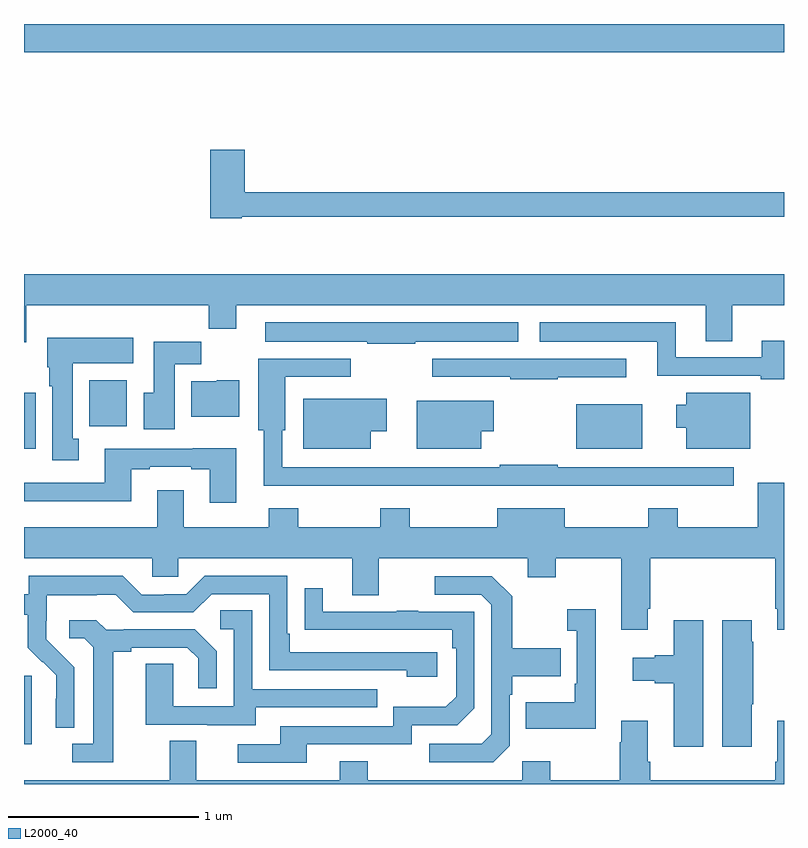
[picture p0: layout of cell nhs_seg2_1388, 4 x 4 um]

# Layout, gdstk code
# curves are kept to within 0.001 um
import gdstk
lib = gdstk.Library(unit=1e-6, precision=1e-09)
def R(c, l, rs):  # rectangles x0, y0, x1, y1
    for r in rs: c.add(gdstk.rectangle(r[:2], r[2:], *l))
def P(c, l, *ps):  # polygons
    for p in ps: c.add(gdstk.Polygon(p, *l))
L2000_40 = (2000, 40)

nhs_seg2_1388 = lib.new_cell('nhs_seg2_1388')
R(nhs_seg2_1388, L2000_40, [(183,628.01,183.04,628.371), (183,629.564,183.061,629.86), (185.906,629.564,186.253,629.8), (183.344,629.684,183.541,629.926), (183,631.652,187,631.8)])
P(nhs_seg2_1388, L2000_40, [(184.146,630.786),(187,630.786),(187,630.914),(184.163,630.914),(184.163,631.138),(183.98,631.138),(183.98,630.778),(184.146,630.778)],
  [(183.013,630.32),(183.973,630.32),(183.973,630.196),(184.117,630.196),(184.117,630.32),(186.587,630.32),(186.587,630.13),(186.727,630.13),(186.727,630.32),(187,630.32),(187,630.484),(183,630.484),(183,630.126),(183.013,630.126)],
  [(185.06,630.128),(185.602,630.128),(185.602,630.229),(184.269,630.229),(184.269,630.128),(184.807,630.128),(184.807,630.118),(185.06,630.118)],
  [(187,630.133),(186.884,630.133),(186.884,630.045),(186.43,630.045),(186.43,630.229),(185.715,630.229),(185.715,630.128),(186.332,630.128),(186.332,629.949),(186.878,629.949),(186.878,629.929),(187,629.929)],
  [(183.289,629.618),(183.256,629.618),(183.256,630.014),(183.574,630.014),(183.574,630.148),(183.122,630.148),(183.122,629.994),(183.134,629.994),(183.134,629.894),(183.149,629.894),(183.149,629.505),(183.289,629.505)],
  [(183.793,630.008),(183.932,630.008),(183.932,630.127),(183.683,630.127),(183.683,629.86),(183.629,629.86),(183.629,629.667),(183.793,629.667)],
  [(184.787,629.37),(185.119,629.37),(185.119,629.369),(185.396,629.369),(185.396,629.37),(185.941,629.37),(185.941,629.369),(186.197,629.369),(186.197,629.37),(186.736,629.37),(186.736,629.466),(185.81,629.466),(185.81,629.479),(185.503,629.479),(185.503,629.466),(184.359,629.466),(184.359,629.661),(184.375,629.661),(184.375,629.943),(184.72,629.943),(184.72,630.039),(184.232,630.039),(184.232,629.661),(184.262,629.661),(184.262,629.37),(184.531,629.37),(184.531,629.369),(184.787,629.369)],
  [(185.81,629.942),(186.169,629.942),(186.169,630.039),(185.148,630.039),(185.148,629.943),(185.56,629.943),(185.56,629.931),(185.81,629.931)],
  [(184.132,629.926),(184.014,629.926),(184.014,629.92),(183.881,629.92),(183.881,629.732),(184.132,629.732)],
  [(186.823,629.86),(186.485,629.86),(186.485,629.797),(186.434,629.797),(186.434,629.675),(186.485,629.675),(186.485,629.564),(186.823,629.564)],
  [(184.825,629.657),(184.909,629.657),(184.909,629.827),(184.469,629.827),(184.469,629.564),(184.825,629.564)],
  [(185.407,629.657),(185.473,629.657),(185.473,629.818),(185.066,629.818),(185.066,629.564),(185.407,629.564)],
  [(184.117,629.566),(183.889,629.566),(183.889,629.565),(183.425,629.565),(183.425,629.385),(183,629.385),(183,629.288),(183.565,629.288),(183.565,629.457),(183.661,629.457),(183.661,629.469),(183.881,629.469),(183.881,629.457),(183.977,629.457),(183.977,629.28),(184.117,629.28)],
  [(186.283,628.723),(186.296,628.723),(186.296,628.988),(186.953,628.988),(186.953,628.723),(186.965,628.723),(186.965,628.611),(187,628.611),(187,629.386),(186.863,629.386),(186.863,629.152),(186.441,629.152),(186.441,629.251),(186.286,629.251),(186.286,629.152),(185.845,629.152),(185.845,629.251),(185.492,629.251),(185.492,629.152),(185.031,629.152),(185.031,629.251),(184.876,629.251),(184.876,629.152),(184.443,629.152),(184.443,629.251),(184.288,629.251),(184.288,629.152),(183.841,629.152),(183.841,629.347),(183.701,629.347),(183.701,629.152),(183,629.152),(183,628.988),(183.675,628.988),(183.675,628.89),(183.813,628.89),(183.813,628.988),(184.727,628.988),(184.727,628.794),(184.867,628.794),(184.867,628.988),(185.651,628.988),(185.651,628.889),(185.799,628.889),(185.799,628.988),(186.143,628.988),(186.143,628.611),(186.283,628.611)],
  [(183.264,628.414),(183.118,628.562),(183.118,628.659),(183.12,628.659),(183.12,628.793),(183.383,628.793),(183.383,628.797),(183.483,628.797),(183.576,628.704),(183.891,628.704),(183.987,628.8),(184.29,628.8),(184.29,628.398),(185.015,628.398),(185.015,628.364),(185.176,628.364),(185.176,628.494),(184.399,628.494),(184.399,628.591),(184.386,628.591),(184.386,628.896),(183.951,628.896),(183.855,628.8),(183.737,628.8),(183.737,628.797),(183.621,628.797),(183.521,628.897),(183.024,628.897),(183.024,628.8),(183,628.8),(183,628.692),(183.019,628.692),(183.019,628.517),(183.096,628.44),(183.099,628.443),(183.17,628.373),(183.17,628.25),(183.168,628.25),(183.168,628.096),(183.264,628.096)],
  [(185.556,628.002),(185.556,628.271),(185.569,628.271),(185.569,628.367),(185.825,628.367),(185.825,628.515),(185.569,628.515),(185.569,628.787),(185.463,628.893),(185.163,628.893),(185.163,628.797),(185.406,628.797),(185.46,628.743),(185.46,628.062),(185.409,628.011),(185.133,628.011),(185.133,627.915),(185.469,627.915)],
  [(184.489,628.008),(185.04,628.008),(185.04,628.11),(185.28,628.11),(185.37,628.2),(185.37,628.707),(185.075,628.707),(185.075,628.712),(184.963,628.712),(184.963,628.707),(184.573,628.707),(184.573,628.831),(184.477,628.831),(184.477,628.612),(185.254,628.611),(185.254,628.514),(185.274,628.514),(185.274,628.26),(185.221,628.207),(184.944,628.207),(184.944,628.104),(184.349,628.104),(184.349,628.008),(184.125,628.008),(184.125,627.912),(184.489,627.912)],
  [(186.008,628.72),(185.859,628.72),(185.859,628.607),(185.91,628.607),(185.91,628.327),(185.898,628.327),(185.898,628.231),(185.641,628.231),(185.641,628.091),(186.008,628.091)],
  [(184.219,628.203),(184.859,628.203),(184.859,628.299),(184.2,628.299),(184.2,628.715),(184.032,628.715),(184.032,628.614),(184.104,628.614),(184.104,628.209),(183.786,628.209),(183.786,628.433),(183.641,628.433),(183.641,628.113),(183.965,628.113),(183.965,628.109),(184.219,628.109)],
  [(183.469,628.496),(183.565,628.496),(183.565,628.518),(183.86,628.518),(183.917,628.461),(183.917,628.305),(184.014,628.305),(184.014,628.498),(183.898,628.614),(183.526,628.614),(183.526,628.611),(183.432,628.611),(183.38,628.663),(183.237,628.663),(183.237,628.566),(183.318,628.566),(183.365,628.519),(183.365,628.011),(183.255,628.011),(183.255,627.915),(183.469,627.915)],
  [(186.829,628.219),(186.837,628.219),(186.837,628.55),(186.829,628.55),(186.829,628.663),(186.674,628.663),(186.674,627.996),(186.829,627.996)],
  [(186.574,628.663),(186.419,628.663),(186.419,628.478),(186.32,628.478),(186.32,628.465),(186.204,628.465),(186.204,628.343),(186.32,628.343),(186.32,628.331),(186.419,628.331),(186.419,627.996),(186.574,627.996)],
  [(187,628.132),(186.965,628.132),(186.965,627.916),(186.953,627.916),(186.953,627.82),(186.296,627.82),(186.296,627.916),(186.283,627.916),(186.283,628.132),(186.143,628.132),(186.143,628.019),(186.136,628.019),(186.136,627.82),(185.769,627.82),(185.769,627.919),(185.622,627.919),(185.622,627.82),(184.809,627.82),(184.809,627.919),(184.661,627.919),(184.661,627.82),(183.907,627.82),(183.907,628.028),(183.767,628.028),(183.767,627.82),(183,627.82),(183,627.8),(187,627.8)])

lib.write_gds('nhs_seg2_1388.gds')
